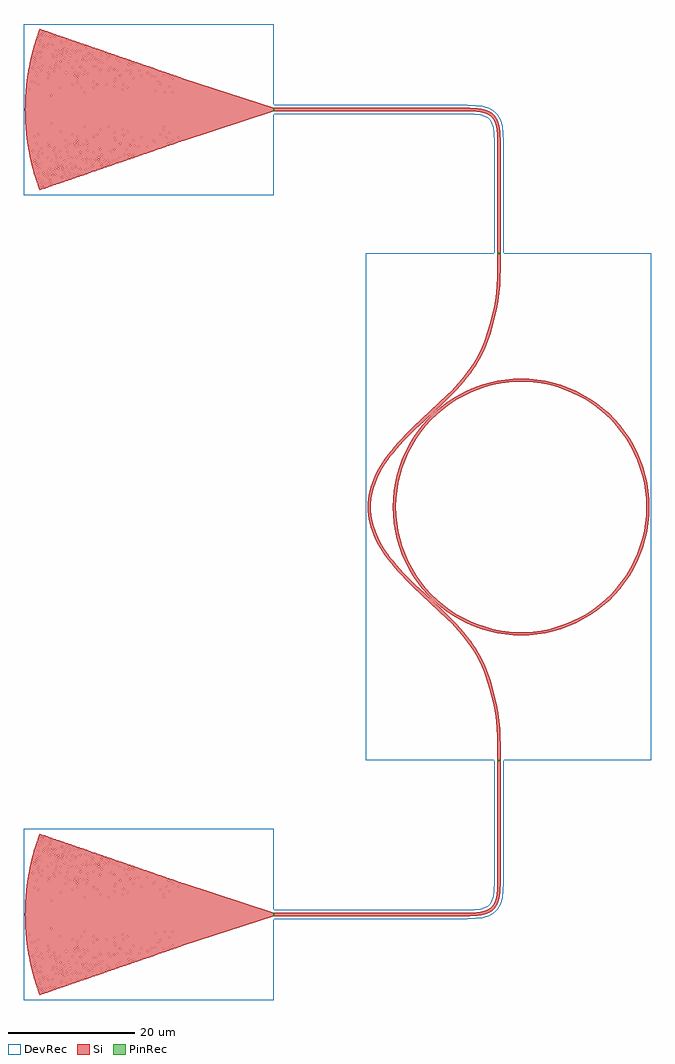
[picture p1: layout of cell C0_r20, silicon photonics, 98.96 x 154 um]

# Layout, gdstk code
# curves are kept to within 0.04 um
from math import pi, radians
import gdstk
lib = gdstk.Library(unit=1e-6, precision=1e-09)
def R(c, l, rs):  # rectangles x0, y0, x1, y1
    for r in rs: c.add(gdstk.rectangle(r[:2], r[2:], *l))
def P(c, l, *ps):  # polygons
    for p in ps: c.add(gdstk.Polygon(p, *l))
Si = (1, 0)
PinRec = (1, 10)
DevRec = (68, 0)

c0_1 = lib.new_cell('C0$1')
P(c0_1, Si, [(40,-4.216),(38.081,-4.044),(36.165,-3.528),(34.257,-2.672),(32.356,-1.49),(30.462,-0.005),(28.575,1.736),(22.322,8.313),(20.459,10.093),(19.22,11.137),(17.984,12.05),(16.133,13.17),(14.282,14.027),(12.425,14.687),(11.184,15.051),(8.7,15.649),(6.221,16.055),(4.983,16.169),(0,16.25),(0,16.75),(5.017,16.667),(6.279,16.551),(8.8,16.138),(11.316,15.533),(12.575,15.164),(14.468,14.491),(16.367,13.612),(17.633,12.878),(18.899,12.012),(20.791,10.466),(22.678,8.665),(28.925,2.093),(30.788,0.374),(32.026,-0.629),(33.261,-1.5),(34.493,-2.232),(36.335,-3.057),(38.169,-3.552),(40,-3.716),(41.831,-3.552),(43.665,-3.057),(45.507,-2.232),(46.739,-1.5),(47.974,-0.629),(49.212,0.374),(51.075,2.093),(57.322,8.665),(59.209,10.466),(61.101,12.012),(62.367,12.878),(63.633,13.612),(65.532,14.491),(67.425,15.164),(68.684,15.533),(71.2,16.138),(73.721,16.551),(74.983,16.667),(80,16.75),(80,16.25),(75.017,16.169),(73.779,16.055),(71.3,15.649),(68.816,15.051),(67.575,14.687),(65.718,14.027),(63.867,13.17),(62.016,12.05),(60.78,11.137),(59.541,10.093),(57.678,8.313),(51.425,1.736),(49.538,-0.005),(47.644,-1.49),(45.743,-2.672),(43.835,-3.528),(41.919,-4.044)],
  [(40,-0.25),(40,0.25),(41.265,0.291),(42.526,0.412),(43.775,0.614),(45.01,0.896),(46.223,1.256),(47.412,1.693),(49.692,2.791),(50.774,3.448),(51.813,4.172),(52.803,4.961),(53.74,5.813),(54.62,6.722),(55.441,7.686),(56.198,8.701),(56.889,9.762),(57.51,10.865),(58.06,12.006),(58.535,13.179),(58.934,14.381),(59.255,15.605),(59.497,16.848),(59.659,18.104),(59.74,19.367),(59.74,20.633),(59.659,21.896),(59.497,23.152),(59.255,24.395),(58.934,25.619),(58.535,26.821),(58.06,27.994),(57.51,29.135),(56.889,30.238),(56.198,31.299),(55.441,32.314),(54.62,33.278),(53.74,34.187),(52.803,35.039),(51.813,35.828),(49.692,37.209),(48.569,37.794),(47.412,38.307),(46.223,38.744),(45.01,39.104),(43.775,39.386),(42.526,39.588),(41.265,39.709),(40,39.75),(40,40.25),(41.272,40.21),(43.794,39.891),(45.036,39.614),(46.258,39.259),(47.455,38.828),(48.622,38.323),(50.85,37.098),(51.903,36.383),(53.862,34.762),(54.762,33.862),(56.383,31.903),(57.745,29.756),(58.323,28.622),(58.828,27.455),(59.259,26.258),(59.614,25.036),(59.891,23.794),(60.21,21.272),(60.25,20),(60.21,18.728),(59.891,16.206),(59.614,14.964),(59.259,13.742),(58.828,12.545),(58.323,11.378),(57.098,9.15),(56.383,8.097),(54.762,6.138),(53.862,5.238),(51.903,3.617),(49.756,2.255),(48.622,1.677),(47.455,1.172),(46.258,0.741),(45.036,0.386),(43.794,0.109),(41.272,-0.21)],
  [(40,-0.25),(38.728,-0.21),(36.206,0.109),(34.964,0.386),(33.742,0.741),(32.545,1.172),(31.378,1.677),(29.15,2.902),(28.097,3.617),(26.138,5.238),(25.238,6.138),(23.617,8.097),(22.255,10.244),(21.677,11.378),(21.172,12.545),(20.741,13.742),(20.386,14.964),(20.109,16.206),(19.79,18.728),(19.75,20),(19.79,21.272),(20.109,23.794),(20.386,25.036),(20.741,26.258),(21.172,27.455),(21.677,28.622),(22.902,30.85),(23.617,31.903),(25.238,33.862),(26.138,34.762),(28.097,36.383),(30.244,37.745),(31.378,38.323),(32.545,38.828),(33.742,39.259),(34.964,39.614),(36.206,39.891),(38.728,40.21),(40,40.25),(40,39.75),(38.735,39.709),(37.474,39.588),(36.225,39.386),(34.99,39.104),(33.777,38.744),(32.588,38.307),(30.308,37.209),(29.226,36.552),(28.187,35.828),(27.197,35.039),(26.26,34.187),(25.38,33.278),(24.559,32.314),(23.802,31.299),(23.111,30.238),(22.49,29.135),(21.94,27.994),(21.465,26.821),(21.066,25.619),(20.745,24.395),(20.503,23.152),(20.341,21.896),(20.26,20.633),(20.26,19.367),(20.341,18.104),(20.503,16.848),(20.745,15.605),(21.066,14.381),(21.465,13.179),(21.94,12.006),(22.49,10.865),(23.111,9.762),(23.802,8.701),(24.559,7.686),(25.38,6.722),(26.26,5.813),(27.197,4.961),(28.187,4.172),(30.308,2.791),(31.431,2.206),(32.588,1.693),(33.777,1.256),(34.99,0.896),(36.225,0.614),(37.474,0.412),(38.735,0.291),(40,0.25)])
R(c0_1, DevRec, [(0,-4.5,80,40.5)])
c0_1.add(gdstk.FlexPath([(0.1,16.5),(-0.1,16.5)], 0.5, ends="flush", simple_path=True, layer=1, datatype=10))  # PinRec
c0_1.add(gdstk.FlexPath([(79.9,16.5),(80.1,16.5)], 0.5, ends="flush", simple_path=True, layer=1, datatype=10))  # PinRec
c0_1.add(gdstk.Label('pin1', (0,16.5), layer=1, texttype=10))
c0_1.add(gdstk.Label('pin2', (80,16.5), layer=1, texttype=10))

grating_te_8deg = lib.new_cell('Grating_TE_8deg')
P(grating_te_8deg, Si, [(-4.885,-5.442),(-5.022,-5.044),(-4.233,-4.773),(-2.42,-4.338),(-0.596,-4.144),(0.821,-4.155),(2.325,-4.322),(3.677,-4.613),(5.022,-5.044),(4.885,-5.442),(3.395,-4.975),(2.107,-4.714),(0.799,-4.576),(-0.58,-4.565),(-1.704,-4.658),(-2.724,-4.823),(-3.818,-5.089)],
  [(-5.045,-4.978),(-5.076,-4.889),(-4.617,-4.725),(-3.684,-4.445),(-2.893,-4.26),(-2.189,-4.134),(-1.544,-4.05),(-0.83,-3.991),(-0.147,-3.968),(0.505,-3.976),(1.187,-4.016),(1.802,-4.08),(2.51,-4.187),(3.243,-4.336),(3.873,-4.496),(4.494,-4.684),(5.076,-4.889),(5.045,-4.978),(4.344,-4.735),(3.693,-4.545),(3.034,-4.386),(2.335,-4.253),(1.695,-4.162),(1.115,-4.105),(0.566,-4.073),(-0.113,-4.062),(-0.728,-4.08),(-1.277,-4.119),(-1.855,-4.182),(-2.527,-4.286),(-3.192,-4.421),(-3.818,-4.579),(-4.375,-4.745)],
  [(-5.097,-4.826),(-5.234,-4.427),(-4.187,-4.077),(-2.357,-3.664),(-0.52,-3.485),(0.99,-3.509),(2.456,-3.68),(3.929,-4.004),(5.234,-4.427),(5.097,-4.826),(3.732,-4.387),(2.328,-4.086),(0.736,-3.916),(-0.605,-3.91),(-1.778,-4.007),(-2.938,-4.199),(-4.078,-4.484)],
  [(-5.257,-4.361),(-5.288,-4.272),(-4.746,-4.08),(-3.904,-3.827),(-2.981,-3.61),(-2.314,-3.491),(-1.473,-3.384),(-0.763,-3.331),(-0.085,-3.312),(0.526,-3.321),(1.203,-3.36),(1.945,-3.438),(2.582,-3.535),(3.246,-3.666),(3.904,-3.827),(4.618,-4.038),(5.288,-4.272),(5.257,-4.361),(4.559,-4.118),(3.849,-3.91),(3.195,-3.752),(2.4,-3.6),(1.833,-3.519),(1.196,-3.454),(0.455,-3.413),(-0.152,-3.407),(-0.826,-3.429),(-1.465,-3.478),(-2.167,-3.564),(-2.732,-3.658),(-3.392,-3.796),(-4.141,-3.991),(-4.655,-4.149)],
  [(-5.31,-4.209),(-5.447,-3.81),(-4.257,-3.417),(-2.384,-3.005),(-0.542,-2.83),(1.03,-2.855),(2.453,-3.016),(3.988,-3.343),(5.447,-3.81),(5.31,-4.209),(3.888,-3.752),(2.391,-3.433),(0.936,-3.271),(-0.63,-3.255),(-1.818,-3.352),(-3.06,-3.556),(-4.182,-3.834)],
  [(-5.47,-3.744),(-5.5,-3.655),(-5.004,-3.478),(-4.163,-3.22),(-3.17,-2.981),(-2.372,-2.837),(-1.673,-2.746),(-1.04,-2.691),(-0.159,-2.657),(0.582,-2.667),(1.181,-2.701),(1.988,-2.783),(2.755,-2.901),(3.48,-3.048),(4.163,-3.22),(4.77,-3.401),(5.5,-3.655),(5.47,-3.744),(4.71,-3.481),(3.937,-3.257),(3.255,-3.095),(2.463,-2.947),(1.907,-2.868),(1.174,-2.795),(0.509,-2.759),(-0.088,-2.751),(-0.754,-2.769),(-1.559,-2.829),(-2.151,-2.9),(-2.877,-3.019),(-3.699,-3.197),(-4.241,-3.34),(-4.81,-3.513)],
  [(-5.522,-3.592),(-5.659,-3.193),(-4.423,-2.785),(-2.477,-2.357),(-0.563,-2.175),(0.998,-2.196),(2.584,-2.374),(4.178,-2.717),(5.659,-3.193),(5.522,-3.592),(4.043,-3.117),(2.487,-2.785),(1.009,-2.619),(-0.549,-2.596),(-1.891,-2.701),(-3.079,-2.892),(-4.248,-3.173)],
  [(-5.682,-3.127),(-5.713,-3.038),(-5.058,-2.808),(-4.147,-2.539),(-3.185,-2.316),(-2.464,-2.189),(-1.701,-2.09),(-0.971,-2.03),(-0.092,-2.001),(0.605,-2.012),(1.409,-2.062),(2.137,-2.142),(2.897,-2.261),(3.65,-2.416),(4.394,-2.606),(5.058,-2.808),(5.713,-3.038),(5.682,-3.127),(4.962,-2.876),(4.16,-2.64),(3.382,-2.453),(2.558,-2.299),(1.837,-2.2),(1.147,-2.136),(0.565,-2.105),(-0.164,-2.096),(-0.82,-2.116),(-1.583,-2.173),(-2.342,-2.266),(-2.989,-2.374),(-3.701,-2.525),(-4.3,-2.678),(-4.996,-2.887)],
  [(-5.734,-2.975),(-5.872,-2.577),(-4.48,-2.122),(-2.532,-1.703),(-0.584,-1.52),(1.073,-1.544),(2.792,-1.745),(4.408,-2.102),(5.872,-2.577),(5.734,-2.975),(4.199,-2.482),(2.619,-2.143),(0.938,-1.958),(-0.57,-1.941),(-1.854,-2.037),(-3.161,-2.241),(-4.517,-2.571)],
  [(-5.894,-2.511),(-5.925,-2.421),(-5.21,-2.171),(-4.338,-1.913),(-3.415,-1.695),(-2.593,-1.546),(-1.84,-1.446),(-0.931,-1.371),(-0.133,-1.346),(0.703,-1.36),(1.462,-1.409),(2.142,-1.482),(2.93,-1.602),(3.712,-1.759),(4.448,-1.943),(5.102,-2.136),(5.925,-2.421),(5.894,-2.511),(5.076,-2.227),(4.315,-2.005),(3.619,-1.835),(2.803,-1.676),(2.093,-1.571),(1.454,-1.503),(0.737,-1.456),(-0.095,-1.44),(-0.737,-1.456),(-1.605,-1.517),(-2.355,-1.606),(-3.101,-1.729),(-3.913,-1.903),(-4.606,-2.085),(-5.219,-2.273)],
  [(-5.947,-2.358),(-6.084,-1.96),(-4.567,-1.468),(-2.508,-1.037),(-0.488,-0.861),(1.19,-0.895),(2.816,-1.085),(4.567,-1.468),(6.084,-1.96),(5.947,-2.358),(4.317,-1.837),(2.791,-1.508),(1.125,-1.313),(-0.591,-1.286),(-1.885,-1.381),(-3.353,-1.612),(-4.647,-1.928)],
  [(-6.107,-1.894),(-6.137,-1.805),(-5.397,-1.545),(-4.493,-1.278),(-3.499,-1.044),(-2.725,-0.904),(-1.867,-0.79),(-1.043,-0.721),(-0.059,-0.69),(0.728,-0.705),(1.553,-0.759),(2.374,-0.852),(3.074,-0.963),(3.806,-1.11),(4.607,-1.309),(5.36,-1.533),(6.137,-1.805),(6.107,-1.894),(5.296,-1.612),(4.509,-1.38),(3.634,-1.169),(2.827,-1.016),(2.052,-0.906),(1.389,-0.84),(0.607,-0.795),(-0.137,-0.785),(-0.998,-0.813),(-1.662,-0.864),(-2.518,-0.968),(-3.212,-1.084),(-3.978,-1.246),(-4.659,-1.421),(-5.481,-1.672)],
  [(-6.159,-1.741),(-6.296,-1.343),(-4.726,-0.834),(-2.556,-0.382),(-0.545,-0.207),(1.231,-0.241),(2.875,-0.431),(4.649,-0.813),(6.296,-1.343),(6.159,-1.741),(4.548,-1.222),(2.813,-0.848),(1.165,-0.659),(-0.494,-0.627),(-1.913,-0.725),(-3.395,-0.953),(-4.776,-1.285)],
  [(-6.319,-1.277),(-6.35,-1.188),(-5.622,-0.932),(-4.649,-0.643),(-3.66,-0.409),(-2.819,-0.256),(-1.931,-0.138),(-0.998,-0.062),(-0.143,-0.035),(0.672,-0.047),(1.526,-0.099),(2.335,-0.186),(3.22,-0.324),(3.978,-0.478),(4.767,-0.675),(5.468,-0.882),(6.35,-1.188),(6.319,-1.277),(5.48,-0.985),(4.548,-0.714),(3.682,-0.51),(2.885,-0.362),(2.083,-0.25),(1.518,-0.193),(0.709,-0.143),(-0.061,-0.129),(-0.831,-0.148),(-1.639,-0.204),(-2.445,-0.296),(-3.205,-0.417),(-4.156,-0.616),(-4.782,-0.777),(-5.634,-1.035)],
  [(-6.372,-1.125),(-6.509,-0.726),(-4.846,-0.189),(-2.725,0.255),(-0.605,0.447),(1.273,0.413),(3.054,0.203),(4.846,-0.189),(6.509,-0.726),(6.372,-1.125),(4.744,-0.598),(2.95,-0.207),(1.164,-0.002),(-0.552,0.027),(-2.1,-0.087),(-3.512,-0.309),(-5.019,-0.675)],
  [(-6.531,-0.66),(-6.562,-0.571),(-5.651,-0.255),(-4.601,0.045),(-3.658,0.259),(-2.705,0.424),(-1.87,0.527),(-0.947,0.597),(-0.063,0.621),(0.821,0.603),(1.661,0.547),(2.497,0.453),(3.328,0.322),(4.193,0.144),(5.007,-0.063),(5.771,-0.294),(6.562,-0.571),(6.531,-0.66),(5.704,-0.371),(4.782,-0.1),(3.846,0.124),(3.065,0.272),(2.361,0.376),(1.486,0.467),(0.733,0.512),(-0.147,0.526),(-1.068,0.496),(-1.82,0.437),(-2.527,0.354),(-3.436,0.206),(-4.214,0.042),(-5.024,-0.166),(-5.863,-0.423)],
  [(-6.584,-0.508),(-6.721,-0.109),(-5.045,0.434),(-2.814,0.904),(-0.625,1.102),(1.271,1.07),(3.154,0.85),(5.045,0.434),(6.721,-0.109),(6.584,-0.508),(4.739,0.08),(2.965,0.454),(1.203,0.652),(-0.57,0.682),(-2.087,0.574),(-3.629,0.335),(-5.105,-0.02)],
  [(-6.744,-0.043),(-6.775,0.046),(-5.875,0.359),(-4.792,0.671),(-3.819,0.894),(-2.965,1.047),(-1.974,1.175),(-1.064,1.247),(-0.152,1.276),(0.847,1.258),(1.671,1.204),(2.535,1.109),(3.35,0.983),(4.159,0.822),(5.002,0.616),(5.875,0.359),(6.775,0.046),(6.744,-0.043),(5.93,0.242),(5.021,0.513),(4.098,0.739),(3.165,0.919),(2.395,1.032),(1.577,1.117),(0.757,1.167),(-0.065,1.182),(-1.016,1.155),(-1.836,1.094),(-2.823,0.973),(-3.505,0.859),(-4.351,0.682),(-5.187,0.467),(-5.93,0.242)],
  [(-6.796,0.109),(-6.934,0.507),(-5.033,1.114),(-2.77,1.572),(-0.556,1.76),(1.4,1.718),(3.254,1.497),(5.205,1.068),(6.934,0.507),(6.796,0.109),(5.018,0.682),(3.147,1.088),(1.198,1.309),(-0.632,1.336),(-2.067,1.235),(-3.747,0.979),(-5.186,0.636)],
  [(-6.956,0.573),(-6.987,0.663),(-6.102,0.972),(-5.029,1.285),(-3.851,1.555),(-2.969,1.709),(-1.991,1.832),(-1.053,1.904),(-0.202,1.931),(0.739,1.918),(1.679,1.861),(2.57,1.765),(3.411,1.637),(4.377,1.444),(5.202,1.239),(6.102,0.972),(6.987,0.663),(6.956,0.573),(5.948,0.922),(5.05,1.182),(4.184,1.39),(3.132,1.588),(2.337,1.699),(1.494,1.781),(0.647,1.827),(-0.156,1.837),(-1.004,1.812),(-1.849,1.751),(-2.824,1.635),(-3.616,1.504),(-4.575,1.301),(-5.308,1.112),(-6.202,0.84)],
  [(-7.009,0.726),(-7.146,1.124),(-5.143,1.761),(-2.901,2.215),(-0.573,2.415),(1.397,2.375),(3.308,2.152),(5.276,1.726),(7.146,1.124),(7.009,0.726),(5.218,1.305),(3.378,1.713),(1.46,1.948),(-0.517,1.995),(-2.132,1.887),(-3.864,1.623),(-5.434,1.245)],
  [(-7.169,1.19),(-7.199,1.28),(-6.111,1.654),(-5.092,1.944),(-4.014,2.19),(-3.014,2.364),(-2.144,2.475),(-1.131,2.556),(-0.115,2.587),(0.716,2.575),(1.868,2.502),(2.785,2.397),(3.696,2.251),(4.6,2.064),(5.449,1.849),(6.331,1.584),(7.199,1.28),(7.169,1.19),(6.085,1.563),(5.16,1.829),(4.221,2.051),(3.319,2.221),(2.5,2.339),(1.677,2.424),(0.759,2.479),(-0.069,2.493),(-0.988,2.469),(-1.86,2.408),(-2.819,2.297),(-3.636,2.166),(-4.535,1.982),(-5.514,1.733),(-6.391,1.465)],
  [(-7.221,1.343),(-7.358,1.741),(-5.342,2.385),(-2.94,2.871),(-0.637,3.069),(1.439,3.029),(3.36,2.807),(5.342,2.385),(7.358,1.741),(7.221,1.343),(5.332,1.951),(3.389,2.375),(1.504,2.602),(-0.579,2.649),(-2.288,2.529),(-3.981,2.267),(-5.643,1.865)],
  [(-7.381,1.807),(-7.412,1.896),(-6.247,2.296),(-5.197,2.592),(-4.039,2.852),(-3.009,3.027),(-2.018,3.146),(-1.022,3.218),(-0.024,3.243),(1.022,3.218),(1.923,3.155),(2.867,3.047),(3.759,2.905),(4.735,2.704),(5.655,2.47),(6.563,2.195),(7.412,1.896),(7.381,1.807),(6.491,2.119),(5.495,2.416),(4.578,2.643),(3.37,2.876),(2.433,3.007),(1.632,3.085),(0.781,3.134),(-0.118,3.148),(-1.112,3.119),(-2.009,3.052),(-2.949,2.94),(-3.883,2.786),(-4.762,2.601),(-5.723,2.353),(-6.58,2.09)],
  [(-7.433,1.959),(-7.571,2.358),(-5.355,3.057),(-2.977,3.527),(-0.559,3.727),(1.48,3.683),(3.601,3.43),(5.683,2.97),(7.571,2.358),(7.433,1.959),(5.488,2.586),(3.442,3.03),(1.358,3.269),(-0.644,3.303),(-2.45,3.17),(-4.098,2.911),(-5.764,2.51)],
  [(-7.593,2.424),(-7.624,2.513),(-6.519,2.895),(-5.346,3.229),(-4.203,3.487),(-3.24,3.655),(-2.124,3.794),(-1.149,3.868),(-0.122,3.898),(0.758,3.885),(1.783,3.825),(2.804,3.716),(3.77,3.568),(4.681,3.387),(5.676,3.142),(6.612,2.865),(7.624,2.513),(7.593,2.424),(6.585,2.775),(5.606,3.063),(4.709,3.284),(3.707,3.483),(2.841,3.616),(1.922,3.718),(0.95,3.783),(-0.024,3.804),(-1.096,3.776),(-2.116,3.7),(-2.938,3.603),(-3.947,3.44),(-4.994,3.218),(-5.841,2.998),(-6.77,2.715)],
  [(-7.646,2.576),(-7.783,2.975),(-5.554,3.681),(-2.962,4.19),(-0.574,4.382),(1.522,4.337),(3.652,4.086),(5.698,3.643),(7.783,2.975),(7.646,2.576),(5.693,3.208),(3.685,3.653),(1.642,3.906),(-0.564,3.961),(-2.374,3.838),(-4.215,3.555),(-5.881,3.156)],
  [(-7.806,3.041),(-7.837,3.13),(-7.271,3.334),(-6.605,3.552),(-5.446,3.878),(-4.32,4.131),(-3.38,4.296),(-2.383,4.426),(-1.281,4.517),(-0.176,4.553),(0.729,4.542),(1.883,4.474),(2.832,4.373),(3.826,4.223),(5.007,3.984),(5.931,3.75),(6.796,3.492),(7.837,3.13),(7.806,3.041),(6.817,3.386),(5.667,3.723),(4.597,3.978),(3.663,4.155),(2.672,4.298),(1.876,4.38),(0.826,4.444),(-0.125,4.459),(-0.976,4.438),(-2.075,4.362),(-3.02,4.253),(-4.106,4.076),(-5.085,3.869),(-5.956,3.645),(-6.864,3.371)],
  [(-7.858,3.193),(-7.995,3.591),(-5.705,4.317),(-3.246,4.812),(-0.641,5.036),(1.666,4.984),(3.752,4.733),(5.854,4.278),(7.995,3.591),(7.858,3.193),(5.948,3.816),(3.638,4.325),(1.486,4.574),(-0.58,4.616),(-2.39,4.495),(-4.233,4.218),(-6.045,3.789)],
  [(-8.018,3.657),(-8.049,3.747),(-6.882,4.15),(-6.191,4.356),(-5.594,4.515),(-4.437,4.775),(-3.369,4.96),(-2.294,5.094),(-1.213,5.177),(-0.129,5.209),(1.007,5.187),(1.985,5.123),(3.012,5.01),(4.133,4.833),(5.143,4.624),(6.191,4.356),(7.225,4.039),(8.049,3.747),(8.018,3.657),(6.953,4.028),(5.969,4.319),(4.872,4.588),(3.864,4.785),(2.949,4.923),(1.978,5.029),(0.951,5.095),(-0.026,5.115),(-1.106,5.088),(-2.132,5.015),(-3.255,4.881),(-4.117,4.74),(-5.073,4.543),(-6.068,4.292),(-6.953,4.028)],
  [(-8.071,3.81),(-8.208,4.208),(-5.653,5.005),(-3.228,5.476),(-0.553,5.694),(1.605,5.645),(3.8,5.389),(6.009,4.913),(8.208,4.208),(8.071,3.81),(6.009,4.477),(3.839,4.955),(1.63,5.221),(-0.647,5.27),(-2.558,5.136),(-4.348,4.862),(-6.407,4.365)],
  [(-8.231,4.274),(-8.261,4.364),(-7.615,4.596),(-6.963,4.809),(-5.69,5.165),(-4.554,5.419),(-3.511,5.601),(-2.407,5.741),(-1.298,5.829),(-0.186,5.864),(1.033,5.842),(2.038,5.776),(3.249,5.639),(4.19,5.488),(5.278,5.264),(6.303,5.003),(7.265,4.713),(8.261,4.364),(8.231,4.274),(7.288,4.606),(6.026,4.981),(5.053,5.218),(3.81,5.458),(2.818,5.6),(1.925,5.691),(0.977,5.75),(-0.132,5.77),(-0.977,5.75),(-2.03,5.682),(-3.08,5.566),(-4.174,5.395),(-5.156,5.195),(-6.331,4.897),(-7.288,4.606)],
  [(-8.283,4.427),(-8.42,4.825),(-5.904,5.616),(-3.258,6.133),(-0.621,6.348),(1.592,6.303),(3.845,6.045),(6.113,5.562),(8.42,4.825),(8.283,4.427),(6.116,5.125),(3.887,5.611),(1.673,5.875),(-0.558,5.928),(-2.519,5.799),(-4.514,5.497),(-6.32,5.069)],
  [(-8.443,4.891),(-8.474,4.98),(-7.245,5.405),(-6.57,5.607),(-5.941,5.776),(-4.671,6.063),(-3.655,6.241),(-2.415,6.399),(-1.168,6.492),(-0.136,6.52),(1.06,6.497),(2.036,6.434),(3.171,6.31),(4.19,6.153),(5.255,5.94),(6.361,5.665),(7.503,5.322),(8.474,4.98),(8.443,4.891),(7.373,5.265),(6.234,5.602),(4.972,5.905),(3.909,6.105),(2.891,6.251),(1.867,6.353),(0.785,6.413),(-0.19,6.425),(-1.218,6.395),(-2.352,6.31),(-3.32,6.195),(-4.335,6.031),(-5.5,5.787),(-6.442,5.545),(-7.373,5.265)],
  [(-8.495,5.043),(-8.633,5.442),(-7.223,5.924),(-5.946,6.28),(-4.596,6.577),(-3.175,6.805),(-0.471,7.007),(1.909,6.937),(4.16,6.656),(6.374,6.169),(8.633,5.442),(8.495,5.043),(6.22,5.774),(4.041,6.249),(1.716,6.529),(-0.627,6.582),(-2.53,6.457),(-4.523,6.162),(-6.639,5.658)],
  [(-8.655,5.508),(-8.686,5.597),(-8.112,5.805),(-7.374,6.049),(-6.144,6.399),(-5.55,6.544),(-4.788,6.707),(-3.691,6.898),(-2.586,7.04),(-1.365,7.138),(-0.195,7.175),(1.031,7.154),(2.032,7.092),(3.25,6.961),(4.296,6.799),(5.387,6.581),(6.52,6.299),(7.744,5.93),(8.686,5.597),(8.655,5.508),(7.664,5.857),(6.551,6.193),(5.476,6.464),(4.171,6.725),(3.239,6.867),(2.08,6.993),(0.972,7.062),(-0.139,7.081),(-1.138,7.055),(-2.356,6.968),(-3.458,6.837),(-4.499,6.666),(-5.476,6.464),(-6.551,6.193),(-7.664,5.857)],
  [(-8.708,5.66),(-8.845,6.059),(-7.509,6.519),(-6.037,6.931),(-3.31,7.448),(-0.596,7.66),(1.616,7.615),(4.095,7.331),(6.476,6.818),(8.845,6.059),(8.708,5.66),(6.376,6.409),(4.142,6.896),(1.758,7.183),(-0.475,7.241),(-2.537,7.115),(-4.691,6.796),(-6.752,6.305)],
  [(-8.868,6.125),(-8.898,6.214),(-8.203,6.464),(-7.554,6.677),(-6.79,6.903),(-6.129,7.077),(-4.849,7.362),(-3.612,7.572),(-2.422,7.715),(-1.17,7.804),(-0.086,7.831),(1.17,7.804),(2.422,7.715),(3.499,7.588),(4.569,7.415),(5.685,7.184),(6.79,6.903),(7.771,6.608),(8.898,6.214),(8.868,6.125),(7.636,6.552),(6.492,6.886),(5.278,7.178),(4.105,7.4),(2.98,7.56),(2.017,7.656),(0.995,7.717),(-0.199,7.736),(-1.223,7.707),(-2.357,7.626),(-3.431,7.502),(-4.553,7.322),(-5.61,7.104),(-6.821,6.796),(-7.798,6.5)],
  [(-8.92,6.277),(-9.057,6.676),(-7.634,7.164),(-6.013,7.61),(-3.389,8.098),(-0.61,8.315),(1.887,8.253),(4.25,7.969),(6.799,7.408),(9.057,6.676),(8.92,6.277),(6.531,7.044),(4.243,7.543),(1.973,7.824),(-0.601,7.894),(-2.77,7.749),(-4.693,7.462),(-6.751,6.984)],
  [(-9.08,6.742),(-9.111,6.831),(-8.399,7.087),(-7.679,7.322),(-6.445,7.672),(-5.707,7.85),(-5.022,7.995),(-3.814,8.204),(-2.538,8.362),(-1.431,8.447),(-0.146,8.486),(1.081,8.464),(2.247,8.389),(3.351,8.269),(4.621,8.071),(5.821,7.824),(6.952,7.536),(8.012,7.216),(9.111,6.831),(9.08,6.742),(7.819,7.179),(6.76,7.491),(5.404,7.82),(4.261,8.038),(3.224,8.19),(2.008,8.314),(1.019,8.372),(-0.087,8.392),(-1.31,8.359),(-2.414,8.279),(-3.513,8.152),(-4.605,7.978),(-5.631,7.77),(-6.76,7.491),(-7.819,7.179)],
  [(-9.133,6.894),(-9.27,7.292),(-7.756,7.81),(-6.038,8.276),(-4.526,8.586),(-3.174,8.786),(-0.506,8.973),(2.05,8.898),(4.526,8.586),(6.959,8.042),(9.27,7.292),(9.133,6.894),(6.743,7.664),(4.344,8.19),(1.786,8.495),(-0.615,8.549),(-2.778,8.407),(-4.977,8.074),(-7.025,7.586)],
  [(-9.292,7.358),(-9.323,7.448),(-8.538,7.729),(-7.801,7.968),(-6.999,8.201),(-6.305,8.381),(-5.022,8.662),(-3.725,8.879),(-2.479,9.026),(-1.286,9.111),(-0.09,9.142),(1.106,9.119),(2.3,9.042),(3.37,8.927),(4.611,8.738),(5.899,8.477),(6.941,8.217),(8.199,7.842),(9.323,7.448),(9.292,7.358),(8.002,7.806),(6.803,8.156),(5.53,8.462),(4.302,8.695),(3.241,8.848),(2.114,8.963),(1.043,9.027),(-0.209,9.047),(-1.519,9.004),(-2.47,8.932),(-3.713,8.785),(-4.771,8.613),(-5.995,8.358),(-7.148,8.062),(-8.228,7.733)],
  [(-9.345,7.511),(-9.482,7.909),(-7.818,8.474),(-6.413,8.859),(-5.048,9.156),(-3.367,9.422),(-0.578,9.627),(2.036,9.556),(4.57,9.243),(7.118,8.676),(9.482,7.909),(9.345,7.511),(6.958,8.283),(4.622,8.806),(2.007,9.136),(-0.51,9.207),(-2.842,9.059),(-4.975,8.741),(-7.246,8.203)],
  [(-9.505,7.975),(-9.536,8.064),(-8.675,8.372),(-7.862,8.632),(-6.627,8.975),(-5.256,9.283),(-3.992,9.502),(-2.718,9.661),(-1.498,9.756),(-0.153,9.797),(1.131,9.774),(2.413,9.69),(3.75,9.537),(4.716,9.384),(5.973,9.131),(7.217,8.819),(8.443,8.449),(9.536,8.064),(9.505,7.975),(8.185,8.433),(7.018,8.775),(5.895,9.052),(4.58,9.312),(3.496,9.476),(2.345,9.601),(1.189,9.677),(-0.091,9.703),(-1.189,9.677),(-2.345,9.601),(-3.496,9.476),(-4.701,9.291),(-5.895,9.052),(-7.194,8.727),(-8.3,8.396)],
  [(-9.557,8.128),(-9.695,8.526),(-8.171,9.049),(-6.557,9.497),(-5.039,9.824),(-3.566,10.057),(-0.653,10.281),(1.958,10.219),(4.611,9.9),(7.218,9.326),(9.695,8.526),(9.557,8.128),(6.998,8.949),(4.485,9.494),(1.869,9.803),(-0.583,9.861),(-2.907,9.711),(-5.148,9.374),(-7.351,8.852)],
  [(-9.717,8.592),(-9.748,8.681),(-9.045,8.935),(-8.216,9.207),(-7.438,9.436),(-6.774,9.612),(-5.985,9.799),(-5.251,9.951),(-4.019,10.16),(-2.84,10.307),(-1.469,10.414),(-0.094,10.453),(1.157,10.429),(2.467,10.343),(3.647,10.212),(4.944,10.008),(6.228,9.744),(7.438,9.436),(8.631,9.074),(9.748,8.681),(9.717,8.592),(8.545,9.003),(7.234,9.394),(6.027,9.693),(4.621,9.969),(3.389,10.15),(2.273,10.265),(1.091,10.337),(-0.156,10.358),(-1.215,10.332),(-2.459,10.249),(-3.698,10.11),(-4.989,9.904),(-6.027,9.693),(-7.354,9.361),(-8.545,9.003)],
  [(-9.77,8.744),(-9.907,9.143),(-8.289,9.696),(-6.577,10.165),(-3.707,10.699),(-2.191,10.859),(-0.54,10.939),(2.191,10.859),(4.712,10.547),(7.437,9.944),(9.907,9.143),(9.77,8.744),(7.213,9.568),(4.708,10.12),(2.035,10.448),(-0.47,10.519),(-2.722,10.389),(-5.14,10.042),(-7.455,9.502)],
  [(-9.93,9.209),(-9.96,9.298),(-9.182,9.578),(-8.334,9.854),(-6.922,10.249),(-6.24,10.412),(-5.49,10.571),(-4.106,10.809),(-2.775,10.972),(-1.437,11.072),(-0.16,11.108),(1.246,11.081),(2.521,10.996),(3.853,10.845),(5.051,10.654),(6.364,10.384),(7.477,10.103),(8.698,9.739),(9.96,9.298),(9.93,9.209),(8.611,9.668),(7.331,10.045),(6.034,10.361),(4.722,10.616),(3.526,10.793),(2.386,10.913),(1.115,10.992),(-0.096,11.014),(-1.306,10.984),(-2.513,10.902),(-3.779,10.76),(-5.036,10.561),(-6.406,10.277),(-7.393,10.028),(-8.732,9.629)],
  [(-9.982,9.361),(-10.119,9.76),(-8.529,10.305),(-6.844,10.773),(-5.132,11.138),(-3.658,11.366),(-2.043,11.527),(-0.617,11.593),(2.043,11.527),(4.813,11.194),(7.534,10.595),(10.119,9.76),(9.982,9.361),(7.432,10.186),(4.874,10.756),(2.08,11.102),(-0.544,11.173),(-2.972,11.022),(-5.44,10.651),(-7.678,10.118)],
  [(-10.142,9.826),(-10.173,9.915),(-9.316,10.222),(-8.325,10.539),(-7.006,10.902),(-6.373,11.053),(-5.48,11.24),(-4.774,11.367),(-4,11.486),(-2.769,11.631),(-1.403,11.73),(-0.033,11.764),(1.272,11.736),(2.574,11.649),(4,11.486),(5.159,11.3),(6.373,11.053),(7.699,10.72),(8.946,10.345),(10.173,9.915),(10.142,9.826),(9.349,10.111),(8.672,10.334),(7.551,10.662),(6.417,10.946),(5.591,11.122),(4.888,11.252),(3.73,11.427),(2.307,11.577),(1.008,11.652),(-0.163,11.669),(-1.528,11.629),(-2.761,11.537),(-4.053,11.383),(-5.208,11.195),(-6.417,10.946),(-7.738,10.611),(-9.042,10.214)],
  [(-10.194,9.978),(-10.332,10.376),(-8.518,10.992),(-6.795,11.458),(-5.109,11.807),(-3.669,12.025),(-2.086,12.181),(-0.497,12.251),(2.351,12.161),(4.914,11.841),(7.756,11.212),(10.332,10.376),(10.194,9.978),(7.716,10.786),(4.849,11.424),(2.189,11.751),(-0.621,11.827),(-2.971,11.681),(-5.427,11.32),(-7.716,10.786)],
  [(-10.354,10.442),(-10.385,10.532),(-9.51,10.845),(-8.562,11.15),(-7.282,11.507),(-6.441,11.708),(-5.725,11.859),(-4.281,12.107),(-3.026,12.264),(-1.565,12.378),(-0.167,12.419),(1.099,12.399),(2.562,12.308),(3.82,12.171),(5.136,11.969),(6.441,11.708),(7.796,11.371),(9.132,10.971),(10.385,10.532),(10.354,10.442),(9.042,10.901),(7.709,11.297),(6.357,11.63),(4.924,11.91),(3.743,12.086),(2.422,12.225),(1.162,12.302),(-0.1,12.325),(-1.428,12.29),(-2.554,12.214),(-3.743,12.086),(-5.121,11.876),(-6.486,11.601),(-7.837,11.262),(-9.168,10.86)],
  [(-10.407,10.595),(-10.544,10.993),(-8.629,11.641),(-6.803,12.128),(-5.148,12.465),(-3.677,12.684),(-2.129,12.835),(-0.575,12.905),(2.197,12.83),(5.015,12.488),(7.915,11.846),(10.544,10.993),(10.407,10.595),(7.684,11.472),(5.081,12.049),(2.368,12.394),(-0.501,12.485),(-2.966,12.34),(-5.54,11.965),(-8.197,11.329)],
  [(-10.567,11.059),(-10.598,11.149),(-9.641,11.49),(-8.802,11.76),(-8.086,11.969),(-7.299,12.177),(-6.572,12.349),(-5.708,12.529),(-4.302,12.766),(-3.426,12.879),(-2.75,12.949),(-1.529,13.036),(-0.034,13.075),(0.85,13.063),(1.529,13.036),(2.75,12.949),(4.167,12.785),(5.508,12.567),(6.705,12.319),(8.086,11.969),(9.384,11.575),(10.598,11.149),(10.567,11.059),(9.164,11.548),(7.802,11.949),(6.487,12.271),(5.159,12.534),(3.954,12.719),(2.539,12.873),(1.186,12.957),(-0.169,12.98),(-1.457,12.945),(-2.742,12.855),(-4.021,12.71),(-5.426,12.486),(-6.817,12.196),(-8.193,11.841),(-9.485,11.443)],
  [(-10.619,11.212),(-10.756,11.61),(-8.868,12.251),(-7.074,12.736),(-5.455,13.075),(-3.956,13.309),(-2.447,13.468),(-0.656,13.559),(2.447,13.468),(5.184,13.123),(8.075,12.48),(10.756,11.61),(10.619,11.212),(7.841,12.107),(5.118,12.707),(2.348,13.053),(-0.579,13.139),(-2.959,12.999),(-5.52,12.635),(-8.103,12.035)],
  [(-10.779,11.676),(-10.81,11.765),(-9.965,12.069),(-8.978,12.389),(-8.115,12.639),(-7.378,12.831),(-5.959,13.147),(-4.594,13.385),(-3.77,13.498),(-2.943,13.589),(-1.629,13.687),(-0.173,13.73),(1.144,13.709),(1.906,13.671),(2.805,13.602),(4.045,13.463),(5.482,13.237),(6.637,13.005),(8.115,12.639),(9.44,12.244),(10.81,11.765),(10.779,11.676),(9.479,12.132),(8.225,12.511),(6.82,12.867),(6.077,13.027),(5.195,13.192),(3.896,13.387),(2.521,13.532),(1.21,13.612),(-0.035,13.636),(-1.486,13.6),(-2.797,13.508),(-4.102,13.36),(-5.467,13.144),(-6.82,12.867),(-8.225,12.511),(-9.479,12.132)],
  [(-10.832,11.828),(-10.969,12.227),(-9.11,12.86),(-6.94,13.439),(-5.355,13.758),(-3.825,13.986),(-2.145,14.147),(-0.598,14.216),(2.425,14.127),(5.286,13.77),(8.234,13.114),(10.969,12.227),(10.832,11.828),(8.131,12.705),(5.152,13.365),(2.326,13.712),(-0.452,13.797),(-2.88,13.665),(-5.63,13.28),(-8.265,12.668)],
  [(-10.992,12.293),(-11.022,12.382),(-10.094,12.715),(-9.155,13.018),(-8.274,13.273),(-7.592,13.452),(-6.076,13.791),(-4.614,14.044),(-3.141,14.228),(-1.732,14.338),(-0.248,14.385),(1.167,14.364),(2.014,14.321),(2.86,14.255),(4.264,14.094),(5.59,13.883),(6.905,13.615),(8.274,13.273),(9.626,12.87),(11.022,12.382),(10.992,12.293),(10.199,12.579),(9.532,12.801),(8.522,13.106),(7.775,13.308),(6.473,13.613),(5.297,13.839),(3.833,14.055),(2.501,14.191),(1.234,14.267),(-0.176,14.291),(-1.445,14.258),(-2.852,14.161),(-4.183,14.01),(-5.644,13.777),(-6.954,13.507),(-8.319,13.163),(-9.666,12.758)],
  [(-11.044,12.445),(-11.181,12.844),(-9.287,13.489),(-7.214,14.047),(-5.53,14.392),(-3.97,14.628),(-2.401,14.786),(-0.61,14.871),(2.544,14.775),(5.53,14.392),(8.394,13.748),(11.181,12.844),(11.044,12.445),(8.291,13.339),(5.323,14),(2.301,14.371),(-0.602,14.45),(-3.218,14.29),(-5.88,13.899),(-8.563,13.263)],
  [(-11.204,12.91),(-11.235,12.999),(-10.152,13.384),(-9.194,13.689),(-8.295,13.945),(-7.598,14.124),(-6.757,14.318),(-5.981,14.476),(-4.56,14.714),(-3.632,14.834),(-2.915,14.908),(-1.477,15.007),(-0.108,15.041),(1.189,15.019),(2.7,14.927),(4.061,14.782),(5.556,14.554),(6.405,14.392),(7.108,14.24),(8.434,13.907),(9.194,13.689),(9.948,13.452),(11.235,12.999),(11.204,12.91),(9.989,13.339),(9.237,13.577),(8.411,13.815),(6.949,14.179),(5.541,14.461),(4.263,14.66),(2.907,14.814),(1.401,14.916),(-0.036,14.947),(-1.401,14.916),(-2.907,14.814),(-4.263,14.66),(-5.541,14.461),(-6.949,14.179),(-8.411,13.815),(-9.237,13.577),(-9.989,13.339)],
  [(-11.256,13.062),(-11.394,13.46),(-9.394,14.139),(-7.28,14.703),(-5.635,15.038),(-3.828,15.305),(-2.009,15.47),(-0.548,15.528),(2.446,15.44),(5.491,15.063),(8.553,14.382),(11.394,13.46),(11.256,13.062),(8.381,13.992),(5.425,14.647),(2.345,15.025),(-0.614,15.105),(-3.424,14.927),(-5.993,14.544),(-8.52,13.954)],
  [(-11.416,13.526),(-11.447,13.616),(-10.483,13.961),(-9.508,14.276),(-8.593,14.541),(-7.742,14.762),(-6.956,14.944),(-6.166,15.107),(-4.647,15.363),(-3.189,15.54),(-1.725,15.651),(-0.184,15.696),(1.212,15.674),(2.018,15.634),(2.824,15.574),(4.21,15.423),(5.589,15.213),(7.028,14.928),(7.742,14.762),(8.593,14.541),(10.066,14.1),(11.447,13.616),(11.416,13.526),(10.662,13.8),(9.831,14.076),(8.992,14.331),(8.076,14.581),(6.723,14.898),(5.502,15.132),(4.054,15.348),(2.743,15.486),(1.355,15.574),(-0.11,15.602),(-1.574,15.564),(-3.035,15.46),(-4.562,15.28),(-5.934,15.055),(-7.365,14.755),(-8.781,14.391),(-10.109,13.987)],
  [(-11.469,13.679),(-11.606,14.077),(-9.498,14.79),(-7.415,15.343),(-5.886,15.658),(-4.195,15.92),(-2.418,16.099),(-0.633,16.182),(2.566,16.088),(5.593,15.71),(8.712,15.016),(11.606,14.077),(11.469,13.679),(8.61,14.607),(5.6,15.281),(2.463,15.673),(-0.552,15.762),(-3.269,15.602),(-5.961,15.216),(-8.751,14.568)],
  [(-11.629,14.143),(-11.659,14.233),(-10.607,14.608),(-9.613,14.927),(-8.103,15.346),(-7.304,15.537),(-6.354,15.737),(-5.471,15.897),(-4.659,16.023),(-3.1,16.207),(-1.608,16.313),(-0.112,16.352),(1.458,16.32),(2.876,16.227),(4.289,16.073),(5.103,15.957),(5.913,15.82),(7.304,15.537),(8.752,15.175),(9.613,14.927),(10.395,14.679),(11.659,14.233),(11.629,14.143),(10.79,14.446),(9.943,14.726),(8.945,15.024),(8.226,15.217),(6.994,15.509),(5.604,15.779),(4.351,15.97),(2.869,16.133),(1.38,16.229),(-0.187,16.257),(-1.603,16.219),(-2.869,16.133),(-4.351,15.97),(-5.163,15.852),(-5.898,15.727),(-7.357,15.428),(-8.873,15.044),(-10.297,14.612)],
  [(-11.681,14.296),(-11.818,14.694),(-9.671,15.42),(-7.477,16),(-5.994,16.304),(-4.197,16.58),(-2.235,16.769),(-0.493,16.84),(1.175,16.823),(2.84,16.723),(5.845,16.33),(8.872,15.65),(11.818,14.694),(11.681,14.296),(8.697,15.261),(5.556,15.953),(2.508,16.327),(-0.637,16.416),(-3.478,16.239),(-6.366,15.805),(-8.985,15.181)],
  [(-11.841,14.76),(-11.872,14.849),(-11.801,14.876),(-10.8,15.232),(-9.569,15.622),(-8.103,16.02),(-7.214,16.227),(-6.395,16.396),(-5.496,16.557),(-4.744,16.672),(-3.308,16.845),(-2.473,16.917),(-1.637,16.968),(-0.19,17.007),(1.333,16.981),(2.853,16.887),(4.367,16.724),(5.195,16.605),(6.021,16.466),(7.363,16.194),(8.103,16.02),(8.985,15.789),(10.368,15.375),(11.872,14.849),(11.841,14.76),(10.915,15.093),(10.052,15.376),(9.181,15.636),(8.229,15.891),(6.899,16.198),(5.557,16.451),(4.28,16.64),(2.77,16.799),(1.405,16.884),(-0.114,16.913),(-1.405,16.884),(-2.921,16.786),(-3.601,16.72),(-4.581,16.6),(-6.005,16.373),(-7.418,16.085),(-8.229,15.891),(-9.035,15.677),(-10.557,15.214)],
  [(-11.894,14.912),(-12.031,15.311),(-9.845,16.05),(-7.687,16.623),(-5.95,16.977),(-4.042,17.259),(-2.352,17.418),(-0.579,17.494),(1.196,17.478),(2.814,17.383),(5.95,16.977),(9.031,16.284),(12.031,15.311),(11.894,14.912),(9.002,15.855),(5.882,16.561),(2.706,16.969),(-0.496,17.074),(-3.39,16.907),(-6.407,16.464),(-9.149,15.814)],
  [(-12.053,15.377),(-12.084,15.466),(-11.066,15.831),(-9.963,16.186),(-9.071,16.443),(-8.173,16.676),(-7.268,16.885),(-6.433,17.055),(-5.518,17.217),(-4.829,17.322),(-3.29,17.505),(-1.744,17.619),(-0.116,17.663),(0.659,17.657),(1.511,17.63),(2.904,17.54),(3.675,17.466),(4.522,17.364),(5.976,17.139),(7.495,16.835),(8.323,16.639),(9.071,16.443),(10.479,16.025),(11.213,15.781),(12.084,15.466),(12.053,15.377),(11.184,15.691),(10.306,15.981),(9.494,16.226),(8.601,16.471),(7.325,16.776),(5.961,17.046),(4.434,17.28),(2.896,17.446),(1.43,17.539),(0.58,17.564),(-0.193,17.568),(-1.585,17.532),(-2.434,17.482),(-3.281,17.411),(-4.74,17.239),(-5.58,17.111),(-6.417,16.962),(-7.777,16.674),(-9.123,16.331),(-10.6,15.887)],
  [(-12.106,15.529),(-12.243,15.928),(-10.094,16.657),(-7.823,17.263),(-6.055,17.623),(-4.27,17.891),(-2.394,18.072),(-0.668,18.148),(2.629,18.055),(5.9,17.65),(7.67,17.298),(9.191,16.918),(12.243,15.928),(12.106,15.529),(10.277,16.16),(8.413,16.687),(6.445,17.123),(4.684,17.412),(1.98,17.676),(-0.583,17.728),(-3.373,17.567),(-6.445,17.123),(-9.312,16.447)],
  [(-12.266,15.994),(-12.297,16.083),(-11.261,16.454),(-10.063,16.838),(-9.155,17.098),(-8.24,17.333),(-7.395,17.527),(-6.624,17.685),(-5.07,17.949),(-4.21,18.064),(-3.348,18.158),(-2.483,18.23),(-1.696,18.277),(-0.197,18.318),(0.513,18.315),(1.459,18.288),(2.876,18.2),(4.445,18.034),(6.004,17.799),(6.701,17.67),(7.626,17.476),(9.155,17.098),(10.063,16.838),(10.813,16.603),(12.297,16.083),(12.266,15.994),(11.233,16.364),(10.413,16.632),(9.661,16.858),(8.753,17.107),(7.3,17.451),(5.911,17.719),(4.356,17.951),(2.869,18.106),(1.377,18.197),(-0.118,18.224),(-1.613,18.187),(-2.477,18.136),(-3.261,18.071),(-4.668,17.91),(-5.446,17.796),(-6.375,17.636),(-7.761,17.349),(-8.753,17.107),(-9.435,16.922),(-10.712,16.537)],
  [(-12.318,16.146),(-12.456,16.545),(-10.193,17.309),(-7.881,17.921),(-6.003,18.297),(-4.264,18.552),(-2.435,18.726),(-0.519,18.806),(1.159,18.791),(2.834,18.696),(6.003,18.297),(7.725,17.956),(9.35,17.552),(12.456,16.545),(12.318,16.146),(10.532,16.764),(8.561,17.324),(6.636,17.753),(4.766,18.062),(1.935,18.335),(-0.672,18.382),(-3.747,18.187),(-6.636,17.753),(-9.475,17.08)],
  [(-12.478,16.611),(-12.509,16.7),(-11.38,17.103),(-10.313,17.445),(-9.467,17.69),(-8.615,17.914),(-7.758,18.117),(-6.817,18.314),(-6.028,18.459),(-5.157,18.598),(-4.283,18.715),(-3.326,18.818),(-2.446,18.89),(-1.645,18.936),(-0.12,18.974),(1.484,18.943),(3.086,18.84),(3.804,18.77),(4.76,18.654),(5.633,18.525),(6.423,18.389),(7.21,18.235),(8.226,18.009),(9.622,17.647),(11,17.229),(12.509,16.7),(12.478,16.611),(11.352,17.013),(10.593,17.26),(9.752,17.512),(8.749,17.783),(7.427,18.093),(5.935,18.379),(4.352,18.611),(2.919,18.759),(1.401,18.852),(-0.2,18.879),(-1.721,18.838),(-3.317,18.724),(-4.113,18.64),(-5.065,18.516),(-6.486,18.281),(-8.051,17.953),(-9.521,17.577),(-10.897,17.163),(-11.729,16.883)],
  [(-12.531,16.763),(-12.668,17.161),(-10.211,17.986),(-7.857,18.597),(-6.025,18.957),(-4.337,19.203),(-2.477,19.38),(-0.61,19.46),(1.016,19.451),(2.801,19.356),(6.025,18.957),(7.857,18.597),(9.51,18.186),(12.668,17.161),(12.531,16.763),(10.485,17.463),(8.709,17.961),(6.986,18.351),(5.087,18.678),(2.37,18.965),(-0.523,19.04),(-3.412,18.88),(-6.434,18.457),(-9.484,17.756)],
  [(-12.691,17.227),(-12.721,17.317),(-11.804,17.648),(-10.41,18.098),(-9.55,18.345),(-8.683,18.571),(-7.731,18.793),(-6.852,18.974),(-5.245,19.247),(-3.626,19.447),(-2.813,19.52),(-1.836,19.583),(-0.204,19.629),(0.694,19.623),(1.51,19.598),(2.243,19.56),(3.219,19.486),(4.841,19.304),(6.452,19.049),(8.049,18.722),(9.55,18.345),(11.109,17.88),(11.804,17.648),(12.721,17.317),(12.691,17.227),(11.775,17.558),(10.928,17.839),(10.074,18.099),(9.056,18.379),(7.474,18.752),(6.036,19.026),(4.587,19.242),(3.05,19.406),(1.425,19.507),(-0.122,19.535),(-1.587,19.5),(-2.563,19.444),(-3.374,19.377),(-4.91,19.199),(-6.436,18.956),(-7.474,18.752),(-8.188,18.593),(-9.605,18.232),(-10.385,18.007),(-11.237,17.739)],
  [(-0.25,-19.629),(-4.885,-5.442),(-3.03,-4.888),(-1.143,-4.6),(0.799,-4.576),(2.724,-4.823),(3.818,-5.089),(4.885,-5.442),(0.25,-19.629)])

antgc = lib.new_cell('ANTgc')
R(antgc, DevRec, [(-19.8,-13.5,19.629,13.5)])
antgc.add(gdstk.FlexPath([(19.529,0),(19.729,0)], 0.5, ends="flush", simple_path=True, layer=1, datatype=10))  # PinRec
antgc.add(gdstk.Reference(grating_te_8deg, (0,0), rotation=pi/2))
antgc.add(gdstk.Label('pin1', (19.629,0), layer=1, texttype=10))

waveguide_18 = lib.new_cell('Waveguide$18')
P(waveguide_18, Si, [(35.28,104.29),(35.253,123.005),(35.145,124.032),(34.89,124.982),(34.525,125.629),(34.015,126.1),(33.511,126.361),(32.883,126.552),(32.121,126.677),(31.106,126.743),(0,126.75),(0,127.25),(30.889,127.248),(32.076,127.184),(32.908,127.058),(33.624,126.854),(34.232,126.555),(34.873,125.994),(35.325,125.239),(35.621,124.206),(35.759,122.925),(35.78,104.29)])
P(waveguide_18, DevRec, [(34.78,104.29),(34.742,123.168),(34.623,124.099),(34.426,124.795),(34.159,125.284),(33.813,125.63),(33.324,125.897),(32.628,126.094),(31.697,126.213),(30.529,126.25),(0,126.25),(0,127.75),(30.531,127.75),(31.811,127.709),(32.92,127.566),(33.884,127.289),(34.709,126.834),(35.363,126.18),(35.818,125.355),(36.095,124.391),(36.238,123.282),(36.28,122.025),(36.28,104.29)])
waveguide_18.add(gdstk.FlexPath([(0.05,127),(-0.05,127)], 0.5, ends="flush", simple_path=True, layer=1, datatype=10))  # PinRec
waveguide_18.add(gdstk.FlexPath([(35.53,104.34),(35.53,104.24)], 0.5, ends="flush", simple_path=True, layer=1, datatype=10))  # PinRec
waveguide_18.add(gdstk.Label('pin1', (0,127), layer=1, texttype=10))
waveguide_18.add(gdstk.Label('pin2', (35.53,104.29), layer=1, texttype=10))
waveguide_18.add(gdstk.Label('Lumerical_INTERCONNECT_library=Design kits/ebeam', (0,127), layer=68, texttype=0))
waveguide_18.add(gdstk.Label('Component=ebeam_wg_integral_1550', (0,127.5), layer=68, texttype=0))
waveguide_18.add(gdstk.Label('Spice_param:wg_length=56.691u wg_width=0.500u points="[[0.0,127.0],[35.53,127.0],[35.53,104.29]]" radius=5.0', (0,126.5), layer=68, texttype=0))

waveguide_19 = lib.new_cell('Waveguide$19')
P(waveguide_19, Si, [(0,-0.25),(0,0.25),(31.106,0.257),(32.121,0.323),(32.883,0.448),(33.572,0.664),(34.064,0.933),(34.525,1.371),(34.865,1.957),(35.114,2.803),(35.241,3.793),(35.28,24.29),(35.78,24.29),(35.747,3.861),(35.587,2.621),(35.325,1.761),(34.919,1.063),(34.352,0.525),(33.768,0.204),(33.078,-0.02),(32.273,-0.162),(31.12,-0.243)])
P(waveguide_19, DevRec, [(0,-0.75),(0,0.75),(30.529,0.75),(31.697,0.787),(32.628,0.906),(33.324,1.103),(33.813,1.37),(34.159,1.716),(34.426,2.205),(34.623,2.901),(34.742,3.832),(34.78,24.29),(36.28,24.29),(36.238,3.718),(36.095,2.609),(35.818,1.645),(35.363,0.82),(34.709,0.166),(33.884,-0.289),(32.92,-0.566),(31.811,-0.709),(30.531,-0.75)])
waveguide_19.add(gdstk.FlexPath([(0.05,0),(-0.05,0)], 0.5, ends="flush", simple_path=True, layer=1, datatype=10))  # PinRec
waveguide_19.add(gdstk.FlexPath([(35.53,24.24),(35.53,24.34)], 0.5, ends="flush", simple_path=True, layer=1, datatype=10))  # PinRec
waveguide_19.add(gdstk.Label('pin1', (0,0), layer=1, texttype=10))
waveguide_19.add(gdstk.Label('pin2', (35.53,24.29), layer=1, texttype=10))
waveguide_19.add(gdstk.Label('Lumerical_INTERCONNECT_library=Design kits/ebeam', (0,0), layer=68, texttype=0))
waveguide_19.add(gdstk.Label('Component=ebeam_wg_integral_1550', (0,0.5), layer=68, texttype=0))
waveguide_19.add(gdstk.Label('Spice_param:wg_length=58.271u wg_width=0.500u points="[[0.0,0.0],[35.53,0.0],[35.53,24.29]]" radius=5.0', (0,-0.5), layer=68, texttype=0))

c0_r20 = lib.new_cell('C0_r20')
c0_r20.add(gdstk.Reference(c0_1, (19.03,104.29), rotation=3*pi/2))
c0_r20.add(gdstk.Reference(antgc, (-19.629,127)))
c0_r20.add(gdstk.Reference(waveguide_18, (0,0)))
c0_r20.add(gdstk.Reference(waveguide_19, (0,0)))
c0_r20.add(gdstk.Reference(antgc, (-19.629,0)))

lib.write_gds('C0_r20.gds')
